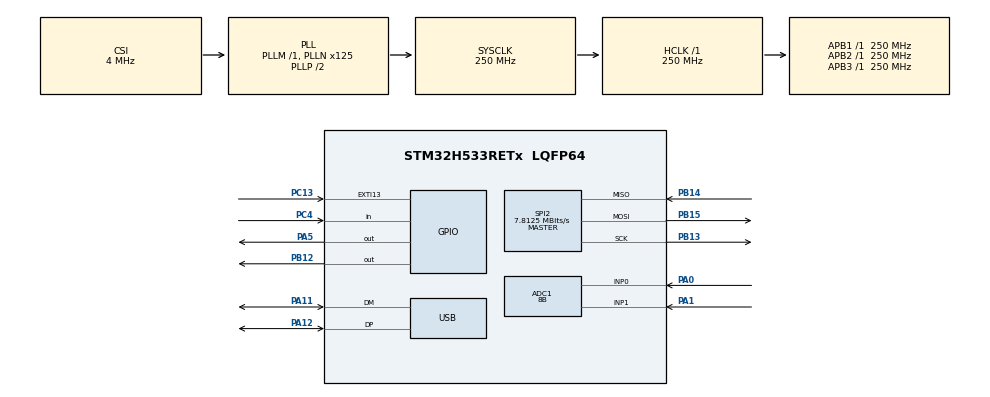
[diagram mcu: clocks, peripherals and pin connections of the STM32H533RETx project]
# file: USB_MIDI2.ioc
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ADC1.Channel-0\#ChannelRegularConversion=ADC_CHANNEL_0
ADC1.Channel-8\#ChannelRegularConversion=ADC_CHANNEL_1
ADC1.DMAContinuousRequests=ENABLE
ADC1.EOCSelection=ADC_EOC_SEQ_CONV
ADC1.ExternalTrigConv=ADC_EXTERNALTRIG_T6_TRGO
ADC1.MonitoredBy-0\#ChannelRegularConversion=__NULL
ADC1.MonitoredBy-8\#ChannelRegularConversion=__NULL
ADC1.NbrOfConversion=2
ADC1.NbrOfConversionFlag=1
ADC1.OffsetNumber-0\#ChannelRegularConversion=ADC_OFFSET_NONE
ADC1.OffsetNumber-8\#ChannelRegularConversion=ADC_OFFSET_NONE
ADC1.OversamplingMode=DISABLE
ADC1.Rank-0\#ChannelRegularConversion=1
ADC1.Rank-8\#ChannelRegularConversion=2
ADC1.Resolution=ADC_RESOLUTION_8B
ADC1.SamplingTime-0\#ChannelRegularConversion=ADC_SAMPLETIME_24CYCLES_5
ADC1.SamplingTime-8\#ChannelRegularConversion=ADC_SAMPLETIME_24CYCLES_5
ADC1.master=1
BOOTPATH.BootPathName=LEGACY
BOOTPATH.UserSelectedBootPath=LEGACY
CORTEX_M33_NS.userName=CORTEX_M33
GPDMA1.CIRCULARMODE_GPDMACH0=ENABLE
GPDMA1.DESTINC_GPDMACH0=DMA_DINC_INCREMENTED
GPDMA1.IPHANDLE_GPDMACH0-SIMPLEREQUEST_GPDMACH0=__NULL
GPDMA1.REQUEST_GPDMACH0=GPDMA1_REQUEST_ADC1
Mcu.Family=STM32H5
Mcu.Name=STM32H533RETx
Mcu.Package=LQFP64
NUCLEO-H533RE.BUTTON=1
NUCLEO-H533RE.VCP=true
NVIC.EXTI13_IRQn=true\:0\:0\:false\:false\:true\:false\:true\:true
NVIC.GPDMA1_Channel0_IRQn=true\:0\:0\:false\:false\:true\:false\:true\:true
NVIC.PriorityGroup=NVIC_PRIORITYGROUP_4
NVIC.USB_DRD_FS_IRQn=true\:0\:0\:false\:false\:true\:true\:true\:true
PA0.Signal=ADCx_INP0
PA1.Signal=ADCx_INP1
PA11.Mode=Device
PA11.Signal=USB_DM
PA12.Mode=Device
PA12.Signal=USB_DP
PA13(JTMS/SWDIO).GPIO_Label=SWDIO
PA13(JTMS/SWDIO).Signal=DEBUG_JTMS-SWDIO
PA14(JTCK/SWCLK).GPIO_Label=SWCLK
PA14(JTCK/SWCLK).Signal=DEBUG_JTCK-SWCLK
PA15(JTDI).GPIO_Label=JTDI
PA15(JTDI).Signal=DEBUG_JTDI
PA2.Signal=USART2_TX
PA3.Signal=USART2_RX
PA5.Signal=GPIO_Output
PB12.GPIO_Speed=GPIO_SPEED_FREQ_VERY_HIGH
PB12.PinState=GPIO_PIN_SET
PB12.Signal=GPIO_Output
PB13.Mode=Full_Duplex_Master
PB13.Signal=SPI2_SCK
PB14.Mode=Full_Duplex_Master
PB14.Signal=SPI2_MISO
PB15.Mode=Full_Duplex_Master
PB15.Signal=SPI2_MOSI
PB3(JTDO/TRACESWO).GPIO_Label=SWO
PB3(JTDO/TRACESWO).Signal=DEBUG_JTDO-SWO
PC13.Signal=GPXTI13
PC4.Signal=GPIO_Input
ProjectManager.HeapSize=0x200
ProjectManager.StackSize=0x400
ProjectManager.TargetToolchain=MDK-ARM V5.37
RCC.ADCFreq_Value=250000000
RCC.AHBFreq_Value=250000000
RCC.APB1Freq_Value=250000000
RCC.APB1TimFreq_Value=250000000
RCC.APB2Freq_Value=250000000
RCC.APB2TimFreq_Value=250000000
RCC.APB3Freq_Value=250000000
RCC.CSI_VALUE=4000000
RCC.CortexFreq_Value=250000000
RCC.EPOD_VALUE=4000000
RCC.HCLKFreq_Value=250000000
RCC.HSE_VALUE=25000000
RCC.HSI48_VALUE=48000000
RCC.HSI_VALUE=64000000
RCC.LSE_VALUE=32768
RCC.LSIRC_VALUE=32000
RCC.PLL1Q=4
RCC.PLL2FRACN=0
RCC.PLL3FRACN=0
RCC.PLLFRACN=0
RCC.PLLN=125
RCC.SYSCLKFreq_VALUE=250000000
RCC.SYSCLKSource=RCC_SYSCLKSOURCE_PLLCLK
RCC.USBFreq_Value=48000000
RCC.VCOOutputFreq_Value=500000000
SH.ADCx_INP0.0=ADC1_INP0,IN0-Single-Ended
SH.ADCx_INP1.0=ADC1_INP1,IN1-Single-Ended
SPI2.BaudRatePrescaler=SPI_BAUDRATEPRESCALER_16
SPI2.CalculateBaudRate=7.8125 MBits/s
SPI2.DataSize=SPI_DATASIZE_8BIT
SPI2.Direction=SPI_DIRECTION_2LINES
SPI2.Mode=SPI_MODE_MASTER
SPI2.NSSPMode=SPI_NSS_PULSE_DISABLE
SPI2.VirtualType=VM_MASTER
TIM6.PeriodNoDither=999
TIM6.Prescaler=249
TIM6.TIM_MasterOutputTrigger=TIM_TRGO_UPDATE
USB.VirtualMode=Device_Only
VP_BOOTPATH_VS_BOOTPATH.Mode=BP_Activate
VP_CORTEX_M33_NS_VS_Hclk.Mode=Hclk_Mode
VP_GPDMA1_VS_GPDMACH0.Mode=SIMPLEREQUEST_GPDMACH0
VP_ICACHE_VS_ICACHE.Mode=DefaultMode
VP_MEMORYMAP_VS_MEMORYMAP.Mode=CurAppReg
VP_NUCLEO-H533RE_VS_BSP_COMMON.Mode=COMMON
VP_PWR_VS_LPOM.Mode=PowerOptimisation
VP_PWR_VS_SECSignals.Mode=Security/Privilege
VP_TIM6_VS_ClockSourceINT.Mode=Enable_Timer
board=NUCLEO-H533RE

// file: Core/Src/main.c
/* USER CODE BEGIN Header */
/**
  ******************************************************************************
  * @file           : main.c
  * @brief          : Main program body
  ******************************************************************************
  * @attention
  *
  * Copyright (c) 2026 STMicroelectronics.
  * All rights reserved.
  *
  * This software is licensed under terms that can be found in the LICENSE file
  * in the root directory of this software component.
  * If no LICENSE file comes with this software, it is provided AS-IS.
  *
  ******************************************************************************
  */
/* USER CODE END Header */
#include "main.h"

/* USER CODE BEGIN Includes */
#include "tusb.h"
#include "matrix.h"
/* USER CODE END Includes */

/* USER CODE BEGIN PD */
#define HYSTERESIS      4
#define MIDI_CC_POT1    16
#define MIDI_CC_POT2    17
#define ADC_RAW_MIN     18      /* ~230 mV / 3300 mV * 255 */
#define ADC_RAW_MAX     255     /* 3.3 V full scale */
/* USER CODE END PD */

COM_InitTypeDef BspCOMInit;
ADC_HandleTypeDef hadc1;
DMA_NodeTypeDef Node_GPDMA1_Channel0;
DMA_QListTypeDef List_GPDMA1_Channel0;
DMA_HandleTypeDef handle_GPDMA1_Channel0;

SPI_HandleTypeDef hspi2;

TIM_HandleTypeDef htim6;

PCD_HandleTypeDef hpcd_USB_DRD_FS;

/* USER CODE BEGIN PV */
volatile uint8_t adc_value[2] = {0, 0};  /* [0]=PA0/pot1, [1]=PA1/pot2 */
static uint8_t last_midi_value[2] = {0, 0};
/* USER CODE END PV */

void SystemClock_Config(void);
static void MX_GPIO_Init(void);
static void MX_GPDMA1_Init(void);
static void MX_USB_PCD_Init(void);
static void MX_SPI2_Init(void);
static void MX_ICACHE_Init(void);
static void MX_ADC1_Init(void);
static void MX_TIM6_Init(void);
/* USER CODE BEGIN PFP */
extern void tusb_hal_init(void);
static void process_potentiometer(void);
/* USER CODE END PFP */

int main(void)
{

  /* MCU Configuration--------------------------------------------------------*/

  /* Reset of all peripherals, Initializes the Flash interface and the Systick. */
  HAL_Init();

  /* Configure the system clock */
  SystemClock_Config();

  /* Initialize all configured peripherals */
  MX_GPIO_Init();
  MX_GPDMA1_Init();
  MX_USB_PCD_Init();
  MX_SPI2_Init();
  MX_ICACHE_Init();
  MX_ADC1_Init();
  MX_TIM6_Init();
  /* USER CODE BEGIN 2 */

  // Initialize tinyUSB
  tusb_init();
  tusb_hal_init();

  // Start ADC with DMA (TIM6 triggers conversions at 1 kHz)
  // DMA writes: adc_value[0] = PA0, adc_value[1] = PA1
  HAL_TIM_Base_Start(&htim6);
  HAL_ADC_Start_DMA(&hadc1, (uint32_t*)adc_value, 2);

  /* USER CODE END 2 */

  /* Initialize USER push-button, will be used to trigger an interrupt each time it's pressed.*/
  BSP_PB_Init(BUTTON_USER, BUTTON_MODE_EXTI);

  /* Initialize COM1 port (115200, 8 bits (7-bit data + 1 stop bit), no parity */
  BspCOMInit.BaudRate   = 115200;
  BspCOMInit.WordLength = COM_WORDLENGTH_8B;
  BspCOMInit.StopBits   = COM_STOPBITS_1;
  BspCOMInit.Parity     = COM_PARITY_NONE;
  BspCOMInit.HwFlowCtl  = COM_HWCONTROL_NONE;
  if (BSP_COM_Init(COM1, &BspCOMInit) != BSP_ERROR_NONE)
  {
    Error_Handler();
  }

  /* Infinite loop */
  /* USER CODE BEGIN WHILE */
  Matrix_Init();
  while (1)
  {
    tud_task();
    Matrix_Scan();
    process_potentiometer();

    /* USER CODE END WHILE */

  }
}

void SystemClock_Config(void)
{
  RCC_OscInitTypeDef RCC_OscInitStruct = {0};
  RCC_ClkInitTypeDef RCC_ClkInitStruct = {0};

  /** Configure the main internal regulator output voltage
  */
  __HAL_PWR_VOLTAGESCALING_CONFIG(PWR_REGULATOR_VOLTAGE_SCALE0);

  while(!__HAL_PWR_GET_FLAG(PWR_FLAG_VOSRDY)) {}

  /** Initializes the RCC Oscillators according to the specified parameters
  * in the RCC_OscInitTypeDef structure.
  */
  RCC_OscInitStruct.OscillatorType = RCC_OSCILLATORTYPE_HSI48|RCC_OSCILLATORTYPE_CSI;
  RCC_OscInitStruct.HSI48State = RCC_HSI48_ON;
  RCC_OscInitStruct.CSIState = RCC_CSI_ON;
  RCC_OscInitStruct.CSICalibrationValue = RCC_CSICALIBRATION_DEFAULT;
  RCC_OscInitStruct.PLL.PLLState = RCC_PLL_ON;
  RCC_OscInitStruct.PLL.PLLSource = RCC_PLL1_SOURCE_CSI;
  RCC_OscInitStruct.PLL.PLLM = 1;
  RCC_OscInitStruct.PLL.PLLN = 125;
  RCC_OscInitStruct.PLL.PLLP = 2;
  RCC_OscInitStruct.PLL.PLLQ = 4;
  RCC_OscInitStruct.PLL.PLLR = 2;
  RCC_OscInitStruct.PLL.PLLRGE = RCC_PLL1_VCIRANGE_2;
  RCC_OscInitStruct.PLL.PLLVCOSEL = RCC_PLL1_VCORANGE_WIDE;
  RCC_OscInitStruct.PLL.PLLFRACN = 0;
  if (HAL_RCC_OscConfig(&RCC_OscInitStruct) != HAL_OK)
  {
    Error_Handler();
  }

  /** Initializes the CPU, AHB and APB buses clocks
  */
  RCC_ClkInitStruct.ClockType = RCC_CLOCKTYPE_HCLK|RCC_CLOCKTYPE_SYSCLK
                              |RCC_CLOCKTYPE_PCLK1|RCC_CLOCKTYPE_PCLK2
                              |RCC_CLOCKTYPE_PCLK3;
  RCC_ClkInitStruct.SYSCLKSource = RCC_SYSCLKSOURCE_PLLCLK;
  RCC_ClkInitStruct.AHBCLKDivider = RCC_SYSCLK_DIV1;
  RCC_ClkInitStruct.APB1CLKDivider = RCC_HCLK_DIV1;
  RCC_ClkInitStruct.APB2CLKDivider = RCC_HCLK_DIV1;
  RCC_ClkInitStruct.APB3CLKDivider = RCC_HCLK_DIV1;

  if (HAL_RCC_ClockConfig(&RCC_ClkInitStruct, FLASH_LATENCY_5) != HAL_OK)
  {
    Error_Handler();
  }

  /** Configure the programming delay
  */
  __HAL_FLASH_SET_PROGRAM_DELAY(FLASH_PROGRAMMING_DELAY_2);
}

static void MX_ADC1_Init(void)
{

  ADC_ChannelConfTypeDef sConfig = {0};

  /** Common config
  */
  hadc1.Instance = ADC1;
  hadc1.Init.ClockPrescaler = ADC_CLOCK_ASYNC_DIV4;
  hadc1.Init.Resolution = ADC_RESOLUTION_8B;
  hadc1.Init.DataAlign = ADC_DATAALIGN_RIGHT;
  hadc1.Init.ScanConvMode = ADC_SCAN_ENABLE;
  hadc1.Init.EOCSelection = ADC_EOC_SEQ_CONV;
  hadc1.Init.LowPowerAutoWait = DISABLE;
  hadc1.Init.ContinuousConvMode = DISABLE;
  hadc1.Init.NbrOfConversion = 2;
  hadc1.Init.DiscontinuousConvMode = DISABLE;
  hadc1.Init.ExternalTrigConv = ADC_EXTERNALTRIG_T6_TRGO;
  hadc1.Init.ExternalTrigConvEdge = ADC_EXTERNALTRIGCONVEDGE_RISING;
  hadc1.Init.DMAContinuousRequests = ENABLE;
  hadc1.Init.SamplingMode = ADC_SAMPLING_MODE_NORMAL;
  hadc1.Init.Overrun = ADC_OVR_DATA_PRESERVED;
  hadc1.Init.OversamplingMode = DISABLE;
  if (HAL_ADC_Init(&hadc1) != HAL_OK)
  {
    Error_Handler();
  }

  /** Configure Regular Channel
  */
  sConfig.Channel = ADC_CHANNEL_0;
  sConfig.Rank = ADC_REGULAR_RANK_1;
  sConfig.SamplingTime = ADC_SAMPLETIME_24CYCLES_5;
  sConfig.SingleDiff = ADC_SINGLE_ENDED;
  sConfig.OffsetNumber = ADC_OFFSET_NONE;
  sConfig.Offset = 0;
  if (HAL_ADC_ConfigChannel(&hadc1, &sConfig) != HAL_OK)
  {
    Error_Handler();
  }

  /** Configure Regular Channel
  */
  sConfig.Channel = ADC_CHANNEL_1;
  sConfig.Rank = ADC_REGULAR_RANK_2;
  if (HAL_ADC_ConfigChannel(&hadc1, &sConfig) != HAL_OK)
  {
    Error_Handler();
  }

}

static void MX_GPDMA1_Init(void)
{

  /* Peripheral clock enable */
  __HAL_RCC_GPDMA1_CLK_ENABLE();

  /* GPDMA1 interrupt Init */
    HAL_NVIC_SetPriority(GPDMA1_Channel0_IRQn, 0, 0);
    HAL_NVIC_EnableIRQ(GPDMA1_Channel0_IRQn);

}

static void MX_ICACHE_Init(void)
{

  /** Enable instruction cache (default 2-ways set associative cache)
  */
  if (HAL_ICACHE_Enable() != HAL_OK)
  {
    Error_Handler();
  }

}

static void MX_SPI2_Init(void)
{

  /* SPI2 parameter configuration*/
  hspi2.Instance = SPI2;
  hspi2.Init.Mode = SPI_MODE_MASTER;
  hspi2.Init.Direction = SPI_DIRECTION_2LINES;
  hspi2.Init.DataSize = SPI_DATASIZE_8BIT;
  hspi2.Init.CLKPolarity = SPI_POLARITY_LOW;
  hspi2.Init.CLKPhase = SPI_PHASE_1EDGE;
  hspi2.Init.NSS = SPI_NSS_SOFT;
  hspi2.Init.BaudRatePrescaler = SPI_BAUDRATEPRESCALER_16;
  hspi2.Init.FirstBit = SPI_FIRSTBIT_MSB;
  hspi2.Init.TIMode = SPI_TIMODE_DISABLE;
  hspi2.Init.CRCCalculation = SPI_CRCCALCULATION_DISABLE;
  hspi2.Init.CRCPolynomial = 0x7;
  hspi2.Init.NSSPMode = SPI_NSS_PULSE_DISABLE;
  hspi2.Init.NSSPolarity = SPI_NSS_POLARITY_LOW;
  hspi2.Init.FifoThreshold = SPI_FIFO_THRESHOLD_01DATA;
  hspi2.Init.MasterSSIdleness = SPI_MASTER_SS_IDLENESS_00CYCLE;
  hspi2.Init.MasterInterDataIdleness = SPI_MASTER_INTERDATA_IDLENESS_00CYCLE;
  hspi2.Init.MasterReceiverAutoSusp = SPI_MASTER_RX_AUTOSUSP_DISABLE;
  hspi2.Init.MasterKeepIOState = SPI_MASTER_KEEP_IO_STATE_DISABLE;
  hspi2.Init.IOSwap = SPI_IO_SWAP_DISABLE;
  hspi2.Init.ReadyMasterManagement = SPI_RDY_MASTER_MANAGEMENT_INTERNALLY;
  hspi2.Init.ReadyPolarity = SPI_RDY_POLARITY_HIGH;
  if (HAL_SPI_Init(&hspi2) != HAL_OK)
  {
    Error_Handler();
  }

}

static void MX_TIM6_Init(void)
{

  TIM_MasterConfigTypeDef sMasterConfig = {0};

  htim6.Instance = TIM6;
  htim6.Init.Prescaler = 249;
  htim6.Init.CounterMode = TIM_COUNTERMODE_UP;
  htim6.Init.Period = 999;
  htim6.Init.AutoReloadPreload = TIM_AUTORELOAD_PRELOAD_DISABLE;
  if (HAL_TIM_Base_Init(&htim6) != HAL_OK)
  {
    Error_Handler();
  }
  sMasterConfig.MasterOutputTrigger = TIM_TRGO_UPDATE;
  sMasterConfig.MasterSlaveMode = TIM_MASTERSLAVEMODE_DISABLE;
  if (HAL_TIMEx_MasterConfigSynchronization(&htim6, &sMasterConfig) != HAL_OK)
  {
    Error_Handler();
  }

}

static void MX_USB_PCD_Init(void)
{

  hpcd_USB_DRD_FS.Instance = USB_DRD_FS;
  hpcd_USB_DRD_FS.Init.dev_endpoints = 8;
  hpcd_USB_DRD_FS.Init.speed = USBD_FS_SPEED;
  hpcd_USB_DRD_FS.Init.phy_itface = PCD_PHY_EMBEDDED;
  hpcd_USB_DRD_FS.Init.Sof_enable = DISABLE;
  hpcd_USB_DRD_FS.Init.low_power_enable = DISABLE;
  hpcd_USB_DRD_FS.Init.lpm_enable = DISABLE;
  hpcd_USB_DRD_FS.Init.battery_charging_enable = DISABLE;
  hpcd_USB_DRD_FS.Init.vbus_sensing_enable = DISABLE;
  hpcd_USB_DRD_FS.Init.bulk_doublebuffer_enable = DISABLE;
  hpcd_USB_DRD_FS.Init.iso_singlebuffer_enable = DISABLE;
  if (HAL_PCD_Init(&hpcd_USB_DRD_FS) != HAL_OK)
  {
    Error_Handler();
  }

}

static void MX_GPIO_Init(void)
{
  GPIO_InitTypeDef GPIO_InitStruct = {0};

  /* GPIO Ports Clock Enable */
  __HAL_RCC_GPIOA_CLK_ENABLE();
  __HAL_RCC_GPIOC_CLK_ENABLE();
  __HAL_RCC_GPIOB_CLK_ENABLE();

  /*Configure GPIO pin Output Level */
  HAL_GPIO_WritePin(GPIOA, GPIO_PIN_5, GPIO_PIN_RESET);

  /*Configure GPIO pin Output Level */
  HAL_GPIO_WritePin(GPIOB, GPIO_PIN_12, GPIO_PIN_SET);

  /*Configure GPIO pin : PA5 */
  GPIO_InitStruct.Pin = GPIO_PIN_5;
  GPIO_InitStruct.Mode = GPIO_MODE_OUTPUT_PP;
  GPIO_InitStruct.Pull = GPIO_NOPULL;
  GPIO_InitStruct.Speed = GPIO_SPEED_FREQ_LOW;
  HAL_GPIO_Init(GPIOA, &GPIO_InitStruct);

  /*Configure GPIO pin : PC4 */
  GPIO_InitStruct.Pin = GPIO_PIN_4;
  GPIO_InitStruct.Mode = GPIO_MODE_INPUT;
  GPIO_InitStruct.Pull = GPIO_NOPULL;
  HAL_GPIO_Init(GPIOC, &GPIO_InitStruct);

  /*Configure GPIO pin : PB12 */
  GPIO_InitStruct.Pin = GPIO_PIN_12;
  GPIO_InitStruct.Mode = GPIO_MODE_OUTPUT_PP;
  GPIO_InitStruct.Pull = GPIO_NOPULL;
  GPIO_InitStruct.Speed = GPIO_SPEED_FREQ_VERY_HIGH;
  HAL_GPIO_Init(GPIOB, &GPIO_InitStruct);

}

/* USER CODE BEGIN 4 */
static void process_potentiometer(void)
{
  static const uint8_t cc[2] = { MIDI_CC_POT1, MIDI_CC_POT2 };

  for (uint8_t i = 0; i < 2; i++)
  {
    // Clamp raw ADC to measured voltage range
    int16_t raw = (int16_t)adc_value[i];
    if (raw < ADC_RAW_MIN) raw = ADC_RAW_MIN;
    if (raw > ADC_RAW_MAX) raw = ADC_RAW_MAX;

    // Linearly map [ADC_RAW_MIN..ADC_RAW_MAX] -> [0..127]
    uint8_t new_value = (uint8_t)((raw - ADC_RAW_MIN) * 127 / (ADC_RAW_MAX - ADC_RAW_MIN));

    // Only send if change exceeds hysteresis threshold
    int16_t diff = (int16_t)new_value - (int16_t)last_midi_value[i];
    if (diff < 0) diff = -diff;

    if (diff >= HYSTERESIS)
    {
      if (tud_midi_mounted())
      {
        uint8_t msg[3] = { 0xB0, cc[i], new_value };
        tud_midi_stream_write(0, msg, 3);
      }
      last_midi_value[i] = new_value;
    }
  }
}
/* USER CODE END 4 */

void Error_Handler(void)
{
  __disable_irq();
  while (1)
  {
  }
}
